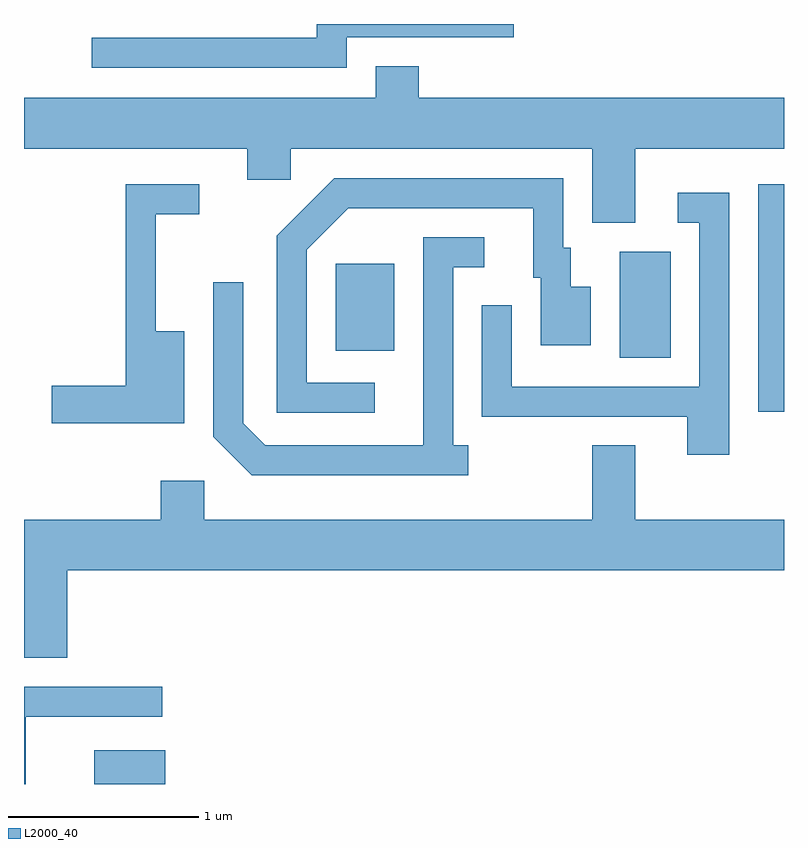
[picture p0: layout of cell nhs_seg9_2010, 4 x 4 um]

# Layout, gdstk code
import gdstk
lib = gdstk.Library(unit=1e-6, precision=1e-09)
def R(c, l, rs):  # rectangles x0, y0, x1, y1
    for r in rs: c.add(gdstk.rectangle(r[:2], r[2:], *l))
def P(c, l, *ps):  # polygons
    for p in ps: c.add(gdstk.Polygon(p, *l))
L2000_40 = (2000, 40)

nhs_seg9_2010 = lib.new_cell('nhs_seg9_2010')
R(nhs_seg9_2010, L2000_40, [(243.981,2028.432,244.354,2028.609), (247.476,2030.391,247.611,2031.589), (246.746,2030.676,247.014,2031.234), (245.251,2030.711,245.559,2031.169)])
P(nhs_seg9_2010, L2000_40, [(245.309,2032.361),(246.188,2032.361),(246.188,2032.432),(245.151,2032.432),(245.151,2032.359),(243.968,2032.359),(243.968,2032.201),(245.309,2032.201)],
  [(246.829,2031.776),(247.611,2031.776),(247.611,2032.044),(245.689,2032.044),(245.689,2032.209),(245.461,2032.209),(245.461,2032.044),(243.611,2032.044),(243.611,2031.776),(244.786,2031.776),(244.786,2031.611),(245.014,2031.611),(245.014,2031.776),(246.601,2031.776),(246.601,2031.386),(246.829,2031.386)],
  [(245.458,2030.544),(245.099,2030.544),(245.099,2031.244),(245.317,2031.461),(246.291,2031.461),(246.291,2031.096),(246.331,2031.096),(246.331,2030.741),(246.594,2030.741),(246.594,2031.049),(246.489,2031.049),(246.489,2031.254),(246.449,2031.254),(246.449,2031.619),(245.244,2031.619),(244.941,2031.317),(244.941,2030.386),(245.458,2030.386)],
  [(244.454,2030.814),(244.304,2030.814),(244.304,2031.431),(244.533,2031.431),(244.533,2031.589),(244.146,2031.589),(244.146,2030.529),(243.756,2030.529),(243.756,2030.331),(244.454,2030.331)],
  [(247.324,2031.544),(247.053,2031.544),(247.053,2031.386),(247.166,2031.386),(247.166,2030.524),(246.179,2030.524),(246.179,2030.953),(246.021,2030.953),(246.021,2030.366),(247.101,2030.366),(247.101,2030.166),(247.324,2030.166)],
  [(245.948,2030.214),(245.869,2030.214),(245.869,2031.151),(246.033,2031.151),(246.033,2031.309),(245.711,2031.309),(245.711,2030.214),(244.882,2030.214),(244.764,2030.332),(244.764,2031.073),(244.606,2031.073),(244.606,2030.259),(244.809,2030.056),(245.948,2030.056)],
  [(243.839,2029.556),(247.611,2029.556),(247.611,2029.824),(246.829,2029.824),(246.829,2030.214),(246.601,2030.214),(246.601,2029.824),(244.559,2029.824),(244.559,2030.029),(244.331,2030.029),(244.331,2029.824),(243.611,2029.824),(243.611,2029.096),(243.839,2029.096)],
  [(243.619,2028.786),(244.338,2028.786),(244.338,2028.944),(243.611,2028.944),(243.611,2028.432),(243.619,2028.432)])

lib.write_gds('nhs_seg9_2010.gds')
